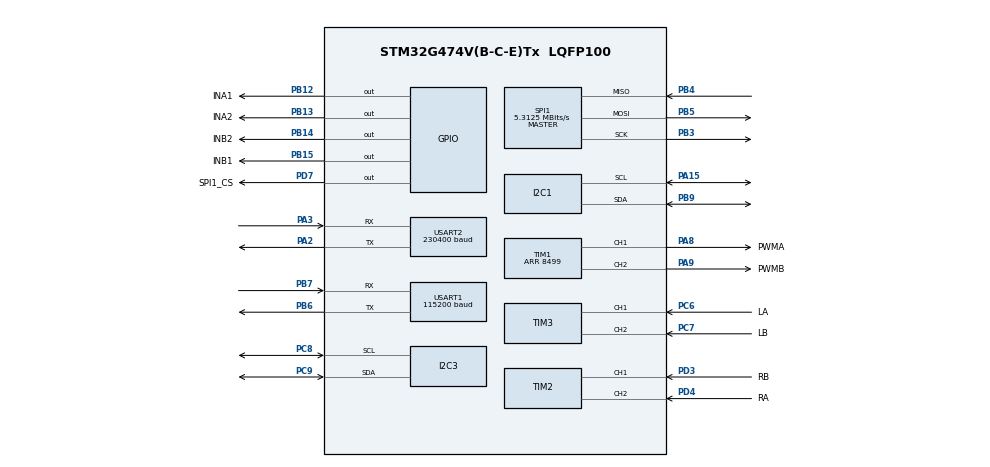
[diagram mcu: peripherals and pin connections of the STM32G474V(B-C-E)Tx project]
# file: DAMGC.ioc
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Dma.Request0=USART2_RX
Dma.Request1=USART2_TX
Dma.USART2_RX.0.Direction=DMA_PERIPH_TO_MEMORY
Dma.USART2_RX.0.EventEnable=DISABLE
Dma.USART2_RX.0.Instance=DMA1_Channel1
Dma.USART2_RX.0.MemDataAlignment=DMA_MDATAALIGN_BYTE
Dma.USART2_RX.0.MemInc=DMA_MINC_ENABLE
Dma.USART2_RX.0.Mode=DMA_CIRCULAR
Dma.USART2_RX.0.PeriphDataAlignment=DMA_PDATAALIGN_BYTE
Dma.USART2_RX.0.PeriphInc=DMA_PINC_DISABLE
Dma.USART2_RX.0.Polarity=HAL_DMAMUX_REQ_GEN_RISING
Dma.USART2_RX.0.Priority=DMA_PRIORITY_HIGH
Dma.USART2_RX.0.RequestNumber=1
Dma.USART2_RX.0.SignalID=NONE
Dma.USART2_RX.0.SyncEnable=DISABLE
Dma.USART2_RX.0.SyncPolarity=HAL_DMAMUX_SYNC_NO_EVENT
Dma.USART2_RX.0.SyncRequestNumber=1
Dma.USART2_RX.0.SyncSignalID=NONE
Dma.USART2_TX.1.Direction=DMA_MEMORY_TO_PERIPH
Dma.USART2_TX.1.EventEnable=DISABLE
Dma.USART2_TX.1.Instance=DMA1_Channel2
Dma.USART2_TX.1.MemDataAlignment=DMA_MDATAALIGN_BYTE
Dma.USART2_TX.1.MemInc=DMA_MINC_ENABLE
Dma.USART2_TX.1.Mode=DMA_NORMAL
Dma.USART2_TX.1.PeriphDataAlignment=DMA_PDATAALIGN_BYTE
Dma.USART2_TX.1.PeriphInc=DMA_PINC_DISABLE
Dma.USART2_TX.1.Polarity=HAL_DMAMUX_REQ_GEN_RISING
Dma.USART2_TX.1.Priority=DMA_PRIORITY_HIGH
Dma.USART2_TX.1.RequestNumber=1
Dma.USART2_TX.1.SignalID=NONE
Dma.USART2_TX.1.SyncEnable=DISABLE
Dma.USART2_TX.1.SyncPolarity=HAL_DMAMUX_SYNC_NO_EVENT
Dma.USART2_TX.1.SyncRequestNumber=1
Dma.USART2_TX.1.SyncSignalID=NONE
I2C1.OwnAddress1=132
I2C1.Timing=0x40B285C2
I2C3.Timing=0x40B285C2
Mcu.Family=STM32G4
Mcu.Name=STM32G474V(B-C-E)Tx
Mcu.Package=LQFP100
NVIC.DMA1_Channel1_IRQn=true\:6\:0\:false\:false\:true\:false\:true\:true
NVIC.DMA1_Channel2_IRQn=true\:6\:0\:false\:false\:true\:false\:true\:true
NVIC.I2C1_ER_IRQn=true\:6\:0\:false\:false\:true\:true\:true\:true
NVIC.I2C1_EV_IRQn=true\:6\:0\:false\:false\:true\:true\:true\:true
NVIC.PriorityGroup=NVIC_PRIORITYGROUP_4
NVIC.USART2_IRQn=true\:5\:0\:true\:false\:true\:true\:true\:true
PA13.Mode=Serial_Wire
PA13.Signal=SYS_JTMS-SWDIO
PA14.Mode=Serial_Wire
PA14.Signal=SYS_JTCK-SWCLK
PA15.Mode=I2C
PA15.Signal=I2C1_SCL
PA2.Mode=Asynchronous
PA2.Signal=USART2_TX
PA3.Mode=Asynchronous
PA3.Signal=USART2_RX
PA8.GPIO_Label=PWMA
PA8.Signal=S_TIM1_CH1
PA9.GPIO_Label=PWMB
PA9.Signal=S_TIM1_CH2
PB12.GPIO_Label=INA1
PB12.Signal=GPIO_Output
PB13.GPIO_Label=INA2
PB13.Signal=GPIO_Output
PB14.GPIO_Label=INB2
PB14.Signal=GPIO_Output
PB15.GPIO_Label=INB1
PB15.Signal=GPIO_Output
PB3.Mode=Full_Duplex_Master
PB3.Signal=SPI1_SCK
PB4.Mode=Full_Duplex_Master
PB4.Signal=SPI1_MISO
PB5.Mode=Full_Duplex_Master
PB5.Signal=SPI1_MOSI
PB6.Mode=Asynchronous
PB6.Signal=USART1_TX
PB7.Mode=Asynchronous
PB7.Signal=USART1_RX
PB9.Mode=I2C
PB9.Signal=I2C1_SDA
PC6.GPIO_Label=LA
PC6.Signal=S_TIM3_CH1
PC7.GPIO_Label=LB
PC7.Signal=S_TIM3_CH2
PC8.Mode=I2C
PC8.Signal=I2C3_SCL
PC9.Mode=I2C
PC9.Signal=I2C3_SDA
PD3.GPIO_Label=RB
PD3.Signal=S_TIM2_CH1
PD4.GPIO_Label=RA
PD4.Signal=S_TIM2_CH2
PD7.GPIO_Label=SPI1_CS
PD7.Signal=GPIO_Output
PF0-OSC_IN.Mode=HSE-External-Clock-Source
PF0-OSC_IN.Signal=RCC_OSC_IN
ProjectManager.HeapSize=0x200
ProjectManager.StackSize=0x400
ProjectManager.TargetToolchain=CMake
RCC.ADC12Freq_Value=170000000
RCC.ADC345Freq_Value=170000000
RCC.AHBFreq_Value=170000000
RCC.APB1Freq_Value=170000000
RCC.APB1TimFreq_Value=170000000
RCC.APB2Freq_Value=170000000
RCC.APB2TimFreq_Value=170000000
RCC.CortexFreq_Value=170000000
RCC.EXTERNAL_CLOCK_VALUE=12288000
RCC.HCLKFreq_Value=170000000
RCC.HSE_VALUE=20000000
RCC.HSI48_VALUE=48000000
RCC.HSI_VALUE=16000000
RCC.LSE_VALUE=32768
RCC.PLLM=RCC_PLLM_DIV2
RCC.PLLN=34
RCC.PLLSourceVirtual=RCC_PLLSOURCE_HSE
RCC.SYSCLKFreq_VALUE=170000000
RCC.SYSCLKSource=RCC_SYSCLKSOURCE_PLLCLK
RCC.USBFreq_Value=170000000
RCC.VCOOutputFreq_Value=340000000
SH.S_TIM1_CH1.0=TIM1_CH1,PWM Generation1 CH1
SH.S_TIM1_CH2.0=TIM1_CH2,PWM Generation2 CH2
SH.S_TIM2_CH1.0=TIM2_CH1,Encoder_Interface
SH.S_TIM2_CH2.0=TIM2_CH2,Encoder_Interface
SH.S_TIM3_CH1.0=TIM3_CH1,Encoder_Interface
SH.S_TIM3_CH2.0=TIM3_CH2,Encoder_Interface
SPI1.BaudRatePrescaler=SPI_BAUDRATEPRESCALER_32
SPI1.CalculateBaudRate=5.3125 MBits/s
SPI1.DataSize=SPI_DATASIZE_8BIT
SPI1.Direction=SPI_DIRECTION_2LINES
SPI1.Mode=SPI_MODE_MASTER
SPI1.VirtualType=VM_MASTER
TIM1.Channel-PWM\ Generation1\ CH1=TIM_CHANNEL_1
TIM1.Channel-PWM\ Generation2\ CH2=TIM_CHANNEL_2
TIM1.Period=8499
TIM2.EncoderMode=TIM_ENCODERMODE_TI12
TIM2.IC1Filter=4
TIM2.IC2Filter=4
TIM3.EncoderMode=TIM_ENCODERMODE_TI12
TIM3.IC1Filter=4
TIM3.IC2Filter=4
USART1.BaudRate=115200
USART1.VirtualMode-Asynchronous=VM_ASYNC
USART2.BaudRate=230400
USART2.VirtualMode-Asynchronous=VM_ASYNC
VP_SYS_VS_DBSignals.Mode=DisableDeadBatterySignals
VP_TIM4_VS_ClockSourceINT.Mode=Internal
board=custom

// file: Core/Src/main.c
/* USER CODE BEGIN Header */
/**
  ******************************************************************************
  * @file           : main.c
  * @brief          : Main program body
  ******************************************************************************
  * @attention
  *
  * Copyright (c) 2026 STMicroelectronics.
  * All rights reserved.
  *
  * This software is licensed under terms that can be found in the LICENSE file
  * in the root directory of this software component.
  * If no LICENSE file comes with this software, it is provided AS-IS.
  *
  ******************************************************************************
  */
/* USER CODE END Header */
#include "main.h"

/* USER CODE BEGIN Includes */

#include <string.h>
#include <stdio.h>
#include "drive.h"
#include "speed_pid.h"
#include "uart_protocol.h"
#include "i2c_protocol.h"
#include "calibration_store.h"

/* USER CODE END Includes */

/* USER CODE BEGIN PTD */

typedef struct
{
  uint32_t magic;
  uint32_t state;
  uint32_t address_7bit;
  uint32_t chip_id;
  uint32_t calib_stat;
  uint32_t sys_status;
  uint32_t sys_error;
  int32_t heading_x16;
  int32_t roll_x16;
  int32_t pitch_x16;
  uint32_t sample_count;
  uint32_t i2c_error_count;
  uint32_t last_hal_status;
  uint32_t uart_tx_count;
  uint32_t uart_tx_error_count;
  uint32_t uart_last_sequence;
} BNO055_TestData;

typedef enum
{
  SERIAL_TEST_IDLE = 0,
  SERIAL_TEST_ENCODER,
  SERIAL_TEST_IMU
} SerialTestMode;

/* USER CODE END PTD */

/* USER CODE BEGIN PD */

#define BNO055_ADDRESS_LOW        0x28U
#define BNO055_ADDRESS_HIGH       0x29U

#define BNO055_REG_CHIP_ID        0x00U
#define BNO055_REG_GYR_DATA_X     0x14U
#define BNO055_REG_EUL_HEADING    0x1AU
#define BNO055_REG_CALIB_STAT     0x35U
#define BNO055_REG_SYS_STATUS     0x39U
#define BNO055_REG_SYS_ERR        0x3AU
#define BNO055_REG_PAGE_ID        0x07U
#define BNO055_REG_OPR_MODE       0x3DU
#define BNO055_REG_PWR_MODE       0x3EU
#define BNO055_REG_SYS_TRIGGER    0x3FU
#define BNO055_REG_ACC_OFFSET_X   0x55U

#define BNO055_CHIP_ID_VALUE      0xA0U
#define BNO055_MODE_CONFIG        0x00U
#define BNO055_MODE_NDOF          0x0CU
#define BNO055_POWER_NORMAL       0x00U

#define BNO055_STATE_STARTING     0U
#define BNO055_STATE_NOT_FOUND    1U
#define BNO055_STATE_BAD_CHIP_ID  2U
#define BNO055_STATE_INIT_ERROR   3U
#define BNO055_STATE_RUNNING      4U

#define UART_IMU_PERIOD_MS        9U
#define UART_WHEEL_PERIOD_MS      20U
#define UART_SYSTEM_PERIOD_MS     100U
#define UART_DEFAULT_WATCHDOG_MS  200U

#define SERIAL_REPORT_PERIOD_MS   200U
#define PID_PLOT_PERIOD_MS        20U
#define MOTOR_TEST_DURATION_MS    2000U

/* USER CODE END PD */

I2C_HandleTypeDef hi2c1;
I2C_HandleTypeDef hi2c3;

TIM_HandleTypeDef htim1;
TIM_HandleTypeDef htim2;
TIM_HandleTypeDef htim3;

UART_HandleTypeDef huart1;
UART_HandleTypeDef huart2;
DMA_HandleTypeDef hdma_usart2_rx;
DMA_HandleTypeDef hdma_usart2_tx;

/* USER CODE BEGIN PV */

volatile BNO055_TestData bno055_test =
{
  .magic = 0xB0550550U,
  .state = BNO055_STATE_STARTING
};

static uint16_t bno055_device_address;
static float bno055_accel_mps2[3];
static float bno055_gyro_rps[3];
static float bno055_quaternion[4];
static int16_t bno055_temperature_cdeg;
static SerialTestMode serial_test_mode;
static uint8_t motor_test_duty_percent = 25U;
static uint8_t motor_test_active;
static uint32_t motor_test_stop_ms;
static uint32_t serial_last_report_ms;
static int32_t encoder_left_previous;
static int32_t encoder_right_previous;
static uint32_t encoder_last_sample_ms;
static uint32_t imu_last_send_ms;
static uint32_t wheel_last_send_ms;
static uint32_t system_last_send_ms;
static uint32_t bno055_next_retry_ms;
static uint32_t pid_last_report_ms;
static uint16_t remote_watchdog_ms = UART_DEFAULT_WATCHDOG_MS;
static uint8_t remote_control_active;
static uint8_t remote_estop_latched;
static uint8_t bno055_profile_loaded;
static uint8_t bno055_profile_mismatch_index = 0xFFU;

/* USER CODE END PV */

void SystemClock_Config(void);
static void MX_GPIO_Init(void);
static void MX_DMA_Init(void);
static void MX_TIM4_Init(void);
static void MX_USART1_UART_Init(void);
static void MX_USART2_UART_Init(void);
static void MX_I2C3_Init(void);
static void MX_TIM1_Init(void);
static void MX_TIM2_Init(void);
static void MX_TIM3_Init(void);
static void MX_SPI1_Init(void);
static void MX_I2C1_Init(void);
/* USER CODE BEGIN PFP */

static HAL_StatusTypeDef BNO055_Read(uint8_t reg, uint8_t *data, uint16_t length);
static HAL_StatusTypeDef BNO055_Write(uint8_t reg, uint8_t value);
static HAL_StatusTypeDef BNO055_WriteBuffer(uint8_t reg,
                                            const uint8_t *data,
                                            uint16_t length);
static HAL_StatusTypeDef BNO055_ApplyCalibrationProfile(
    const BNO055CalibrationProfile *profile);
static HAL_StatusTypeDef BNO055_Init(void);
static HAL_StatusTypeDef BNO055_Update(void);
static void BNO055_PrintCalibrationStore(void);
static void BNO055_SaveCalibration(void);
static void BNO055_LoadCalibration(void);
static void BNO055_EraseCalibration(void);
static HAL_StatusTypeDef UART_SendIMU(void);
static void JetsonProtocol_Process(void);
static void UART_SendWheelState(void);
static void UART_SendSystemState(void);
static void SerialConsole_Write(const char *text);
static void SerialConsole_PrintHelp(void);
static void SerialConsole_PrintStatus(void);
static void SerialConsole_PrintPID(void);
static void SerialConsole_PrintLink(void);
static void SerialConsole_Process(void);
static void SerialTest_Process(void);
static void SerialTest_Encoder(void);
static void SerialTest_IMU(void);
static void SerialTest_MotorPWM(void);

/* USER CODE END PFP */

/* USER CODE BEGIN 0 */

static HAL_StatusTypeDef BNO055_Read(uint8_t reg, uint8_t *data, uint16_t length)
{
  HAL_StatusTypeDef status = HAL_I2C_Mem_Read(&hi2c3, bno055_device_address,
                                               reg, I2C_MEMADD_SIZE_8BIT,
                                               data, length, 100U);
  bno055_test.last_hal_status = (uint32_t)status;
  if (status != HAL_OK)
  {
    bno055_test.i2c_error_count++;
  }
  return status;
}

static HAL_StatusTypeDef BNO055_Write(uint8_t reg, uint8_t value)
{
  HAL_StatusTypeDef status = HAL_I2C_Mem_Write(&hi2c3, bno055_device_address,
                                                reg, I2C_MEMADD_SIZE_8BIT,
                                                &value, 1U, 100U);
  bno055_test.last_hal_status = (uint32_t)status;
  if (status != HAL_OK)
  {
    bno055_test.i2c_error_count++;
  }
  return status;
}

static HAL_StatusTypeDef BNO055_WriteBuffer(uint8_t reg,
                                            const uint8_t *data,
                                            uint16_t length)
{
  HAL_StatusTypeDef status = HAL_I2C_Mem_Write(
      &hi2c3, bno055_device_address, reg, I2C_MEMADD_SIZE_8BIT,
      (uint8_t *)data, length, 100U);

  bno055_test.last_hal_status = (uint32_t)status;
  if (status != HAL_OK)
  {
    bno055_test.i2c_error_count++;
  }
  return status;
}

static HAL_StatusTypeDef BNO055_ApplyCalibrationProfile(
    const BNO055CalibrationProfile *profile)
{
  uint8_t verify[BNO055_CALIBRATION_PROFILE_SIZE];

  bno055_profile_mismatch_index = 0xFFU;
  for (uint32_t attempt = 0U; attempt < 3U; attempt++)
  {
    if (BNO055_WriteBuffer(BNO055_REG_ACC_OFFSET_X, profile->data,
                           BNO055_CALIBRATION_PROFILE_SIZE) != HAL_OK)
    {
      continue;
    }
    HAL_Delay(10U);
    if (BNO055_Read(BNO055_REG_ACC_OFFSET_X, verify,
                    BNO055_CALIBRATION_PROFILE_SIZE) != HAL_OK)
    {
      continue;
    }
    bno055_profile_mismatch_index = 0xFFU;
    for (uint8_t index = 0U; index < BNO055_CALIBRATION_PROFILE_SIZE; index++)
    {
      if (verify[index] != profile->data[index])
      {
        bno055_profile_mismatch_index = index;
        break;
      }
    }
    if (bno055_profile_mismatch_index == 0xFFU)
    {
      return HAL_OK;
    }
    HAL_Delay(10U);
  }
  return HAL_ERROR;
}

static HAL_StatusTypeDef BNO055_Init(void)
{
  HAL_StatusTypeDef status;
  BNO055CalibrationProfile profile;
  uint8_t chip_id = 0U;
  uint8_t address;

  bno055_test.state = BNO055_STATE_STARTING;
  bno055_test.address_7bit = 0U;
  bno055_test.chip_id = 0U;
  HAL_Delay(700U);

  address = BNO055_ADDRESS_LOW;
  bno055_device_address = (uint16_t)(address << 1U);
  status = HAL_I2C_IsDeviceReady(&hi2c3, bno055_device_address, 3U, 100U);
  if (status != HAL_OK)
  {
    address = BNO055_ADDRESS_HIGH;
    bno055_device_address = (uint16_t)(address << 1U);
    status = HAL_I2C_IsDeviceReady(&hi2c3, bno055_device_address, 3U, 100U);
  }

  bno055_test.last_hal_status = (uint32_t)status;
  if (status != HAL_OK)
  {
    bno055_test.state = BNO055_STATE_NOT_FOUND;
    bno055_test.i2c_error_count++;
    return status;
  }
  bno055_test.address_7bit = address;

  for (uint32_t retry = 0U; retry < 10U; retry++)
  {
    status = BNO055_Read(BNO055_REG_CHIP_ID, &chip_id, 1U);
    if ((status == HAL_OK) && (chip_id == BNO055_CHIP_ID_VALUE))
    {
      break;
    }
    HAL_Delay(100U);
  }
  bno055_test.chip_id = chip_id;
  if (chip_id != BNO055_CHIP_ID_VALUE)
  {
    bno055_test.state = BNO055_STATE_BAD_CHIP_ID;
    return HAL_ERROR;
  }

  if ((BNO055_Write(BNO055_REG_OPR_MODE, BNO055_MODE_CONFIG) != HAL_OK))
  {
    bno055_test.state = BNO055_STATE_INIT_ERROR;
    return HAL_ERROR;
  }
  HAL_Delay(25U);

  if ((BNO055_Write(BNO055_REG_PAGE_ID, 0x00U) != HAL_OK) ||
      (BNO055_Write(BNO055_REG_PWR_MODE, BNO055_POWER_NORMAL) != HAL_OK) ||
      (BNO055_Write(BNO055_REG_SYS_TRIGGER, 0x00U) != HAL_OK))
  {
    bno055_test.state = BNO055_STATE_INIT_ERROR;
    return HAL_ERROR;
  }
  HAL_Delay(10U);

  bno055_profile_loaded = 0U;
  if ((CalibrationStore_Load(&profile) != 0U) &&
      (BNO055_ApplyCalibrationProfile(&profile) == HAL_OK))
  {
    bno055_profile_loaded = 1U;
  }

  if (BNO055_Write(BNO055_REG_OPR_MODE, BNO055_MODE_NDOF) != HAL_OK)
  {
    bno055_test.state = BNO055_STATE_INIT_ERROR;
    return HAL_ERROR;
  }
  HAL_Delay(30U);
  bno055_test.state = BNO055_STATE_RUNNING;
  return HAL_OK;
}

static HAL_StatusTypeDef BNO055_Update(void)
{
  uint8_t sensor_data[33];
  uint8_t value;
  int16_t raw_value;

  if (BNO055_Read(BNO055_REG_GYR_DATA_X, sensor_data, sizeof(sensor_data)) != HAL_OK)
  {
    return HAL_ERROR;
  }

  for (uint32_t axis = 0U; axis < 3U; axis++)
  {
    raw_value = (int16_t)(((uint16_t)sensor_data[(axis * 2U) + 1U] << 8U) |
                          sensor_data[axis * 2U]);
    bno055_gyro_rps[axis] = (float)raw_value * 0.0010908308f;

    raw_value = (int16_t)(((uint16_t)sensor_data[21U + (axis * 2U)] << 8U) |
                          sensor_data[20U + (axis * 2U)]);
    bno055_accel_mps2[axis] = (float)raw_value * 0.01f;
  }

  bno055_test.heading_x16 = (int16_t)(((uint16_t)sensor_data[7] << 8U) | sensor_data[6]);
  bno055_test.roll_x16 = (int16_t)(((uint16_t)sensor_data[9] << 8U) | sensor_data[8]);
  bno055_test.pitch_x16 = (int16_t)(((uint16_t)sensor_data[11] << 8U) | sensor_data[10]);

  raw_value = (int16_t)(((uint16_t)sensor_data[15] << 8U) | sensor_data[14]);
  bno055_quaternion[0] = (float)raw_value / 16384.0f;
  raw_value = (int16_t)(((uint16_t)sensor_data[17] << 8U) | sensor_data[16]);
  bno055_quaternion[1] = (float)raw_value / 16384.0f;
  raw_value = (int16_t)(((uint16_t)sensor_data[19] << 8U) | sensor_data[18]);
  bno055_quaternion[2] = (float)raw_value / 16384.0f;
  raw_value = (int16_t)(((uint16_t)sensor_data[13] << 8U) | sensor_data[12]);
  bno055_quaternion[3] = (float)raw_value / 16384.0f;

  bno055_temperature_cdeg = (int16_t)((int8_t)sensor_data[32]) * 100;

  if ((bno055_test.sample_count % 10U) == 0U)
  {
    if (BNO055_Read(BNO055_REG_CALIB_STAT, &value, 1U) == HAL_OK)
    {
      bno055_test.calib_stat = value;
    }
    if (BNO055_Read(BNO055_REG_SYS_STATUS, &value, 1U) == HAL_OK)
    {
      bno055_test.sys_status = value;
    }
    if (bno055_test.sys_status == 0x01U)
    {
      if (BNO055_Read(BNO055_REG_SYS_ERR, &value, 1U) == HAL_OK)
      {
        bno055_test.sys_error = value;
      }
    }
    else
    {
      bno055_test.sys_error = 0U;
    }
  }

  bno055_test.sample_count++;
  return HAL_OK;
}

static uint8_t BNO055_CalibrationAccessAllowed(void)
{
  if ((SpeedPID_GetStatus()->active != 0U) || (motor_test_active != 0U))
  {
    SerialConsole_Write("Calibration denied: stop motors first\r\n> ");
    return 0U;
  }
  if (bno055_test.state != BNO055_STATE_RUNNING)
  {
    SerialConsole_Write("Calibration denied: BNO055 is not running\r\n> ");
    return 0U;
  }
  return 1U;
}

static void BNO055_PrintCalibrationStore(void)
{
  char line[224];
  BNO055CalibrationProfile profile;
  uint8_t stored_calib;

  memset(&profile, 0, sizeof(profile));
  uint8_t valid = CalibrationStore_Load(&profile);
  stored_calib = (valid != 0U) ? profile.calibration_status : 0U;

  (void)snprintf(line, sizeof(line),
                 "CAL store[type=internal addr=0x%08lX valid=%u loaded=%u mismatch=%u] "
                 "saved[S%u G%u A%u M%u] "
                 "live[S%lu G%lu A%lu M%lu fusion=%lu err=%lu]\r\n> ",
                 (unsigned long)CalibrationStore_GetAddress(),
                 valid,
                 bno055_profile_loaded,
                 bno055_profile_mismatch_index,
                 (stored_calib >> 6U) & 0x03U,
                 (stored_calib >> 4U) & 0x03U,
                 (stored_calib >> 2U) & 0x03U,
                 stored_calib & 0x03U,
                 (unsigned long)((bno055_test.calib_stat >> 6U) & 0x03U),
                 (unsigned long)((bno055_test.calib_stat >> 4U) & 0x03U),
                 (unsigned long)((bno055_test.calib_stat >> 2U) & 0x03U),
                 (unsigned long)(bno055_test.calib_stat & 0x03U),
                 (unsigned long)bno055_test.sys_status,
                 (unsigned long)bno055_test.sys_error);
  SerialConsole_Write(line);
}

static void BNO055_SaveCalibration(void)
{
  BNO055CalibrationProfile profile;
  HAL_StatusTypeDef read_status;

  if (BNO055_CalibrationAccessAllowed() == 0U)
  {
    return;
  }
  if (CalibrationStore_IsPresent() == 0U)
  {
    SerialConsole_Write("CAL save failed: internal Flash unavailable\r\n> ");
    return;
  }
  if ((bno055_test.sys_status != 5U) ||
      ((bno055_test.calib_stat & 0x3FU) != 0x3FU))
  {
    SerialConsole_Write("CAL save denied: require fusion=5 and G3 A3 M3\r\n> ");
    return;
  }

  profile.calibration_status = (uint8_t)bno055_test.calib_stat;
  if (BNO055_Write(BNO055_REG_OPR_MODE, BNO055_MODE_CONFIG) != HAL_OK)
  {
    SerialConsole_Write("CAL save failed: cannot enter CONFIG mode\r\n> ");
    return;
  }
  HAL_Delay(25U);
  read_status = BNO055_Read(BNO055_REG_ACC_OFFSET_X, profile.data,
                           BNO055_CALIBRATION_PROFILE_SIZE);
  (void)BNO055_Write(BNO055_REG_OPR_MODE, BNO055_MODE_NDOF);
  HAL_Delay(30U);

  if (read_status != HAL_OK)
  {
    SerialConsole_Write("CAL save failed: BNO055 profile read error\r\n> ");
    return;
  }
  if (CalibrationStore_Save(&profile) == 0U)
  {
    SerialConsole_Write("CAL save failed: internal Flash write/verify error\r\n> ");
    return;
  }
  bno055_profile_loaded = 1U;
  SerialConsole_Write("CAL saved and verified; next boot will auto-load it\r\n> ");
}

static void BNO055_LoadCalibration(void)
{
  BNO055CalibrationProfile profile;
  HAL_StatusTypeDef write_status;

  if (BNO055_CalibrationAccessAllowed() == 0U)
  {
    return;
  }
  if (CalibrationStore_Load(&profile) == 0U)
  {
    SerialConsole_Write("CAL load failed: no valid saved profile\r\n> ");
    return;
  }
  if (BNO055_Write(BNO055_REG_OPR_MODE, BNO055_MODE_CONFIG) != HAL_OK)
  {
    SerialConsole_Write("CAL load failed: cannot enter CONFIG mode\r\n> ");
    return;
  }
  HAL_Delay(25U);
  write_status = BNO055_ApplyCalibrationProfile(&profile);
  (void)BNO055_Write(BNO055_REG_OPR_MODE, BNO055_MODE_NDOF);
  HAL_Delay(30U);

  if (write_status == HAL_OK)
  {
    bno055_profile_loaded = 1U;
    SerialConsole_Write("CAL profile loaded into BNO055\r\n> ");
  }
  else
  {
    bno055_profile_loaded = 0U;
    SerialConsole_Write("CAL load failed: BNO055 profile read-back mismatch\r\n> ");
  }
}

static void BNO055_EraseCalibration(void)
{
  if ((SpeedPID_GetStatus()->active != 0U) || (motor_test_active != 0U))
  {
    SerialConsole_Write("CAL erase denied: stop motors first\r\n> ");
    return;
  }
  if (CalibrationStore_Erase() != 0U)
  {
    bno055_profile_loaded = 0U;
    SerialConsole_Write("CAL saved profile erased; current BNO offsets unchanged\r\n> ");
  }
  else
  {
    SerialConsole_Write("CAL erase failed\r\n> ");
  }
}

static HAL_StatusTypeDef UART_SendIMU(void)
{
  uint16_t imu_status;
  HAL_StatusTypeDef status;

  imu_status = (uint16_t)(bno055_test.calib_stat &
                          UART_IMU_STATUS_CALIB_MASK) |
               (uint16_t)((bno055_test.sys_status & 0x0FU) <<
                          UART_IMU_STATUS_SYS_SHIFT) |
               (uint16_t)((bno055_test.sys_error & 0x0FU) <<
                          UART_IMU_STATUS_ERROR_SHIFT);
  status = UARTProtocol_SendIMU(bno055_accel_mps2, bno055_gyro_rps,
                                bno055_quaternion, bno055_temperature_cdeg,
                                imu_status);
  bno055_test.uart_last_sequence = UARTProtocol_GetStats()->tx_frames;
  if (status == HAL_OK)
  {
    bno055_test.uart_tx_count++;
  }
  else
  {
    bno055_test.uart_tx_error_count++;
  }
  return status;
}

static void JetsonProtocol_Process(void)
{
  UARTVelocityCommand command;

  UARTProtocol_Process();
  if (UARTProtocol_TakeVelocityCommand(&command) != 0U)
  {
    remote_watchdog_ms = (command.watchdog_ms != 0U) ?
                         command.watchdog_ms : UART_DEFAULT_WATCHDOG_MS;
    motor_test_active = 0U;

    if ((command.control_flags & UART_CONTROL_CLEAR_FAULT) != 0U)
    {
      remote_estop_latched = 0U;
    }

    if ((command.control_flags & UART_CONTROL_ESTOP) != 0U)
    {
      remote_estop_latched = 1U;
      SpeedPID_Stop();
      remote_control_active = 0U;
    }
    else if (remote_estop_latched != 0U)
    {
      SpeedPID_Stop();
      remote_control_active = 0U;
    }
    else if ((command.control_flags & UART_CONTROL_CONTROLLED_STOP) != 0U)
    {
      SpeedPID_SetTargets(0.0f, 0.0f);
      if (SpeedPID_GetStatus()->active == 0U)
      {
        SpeedPID_Start();
      }
      remote_control_active = 1U;
    }
    else if (((command.control_flags & UART_CONTROL_MOTOR_ENABLE) != 0U) &&
             (remote_estop_latched == 0U))
    {
      SpeedPID_SetTargets((float)command.left_mm_s,
                          (float)command.right_mm_s);
      if (SpeedPID_GetStatus()->active == 0U)
      {
        SpeedPID_Start();
      }
      remote_control_active = 1U;
    }
    else
    {
      SpeedPID_Stop();
      remote_control_active = 0U;
    }
  }

  if ((remote_control_active != 0U) &&
      (UARTProtocol_GetLastCommandAgeMs() > remote_watchdog_ms))
  {
    SpeedPID_Stop();
    remote_control_active = 0U;
  }
}

static void UART_SendWheelState(void)
{
  const EncoderState *encoder = Encoder_GetState();
  uint16_t encoder_status = 0U;

  if (encoder->sample_period_ms != 0U)
  {
    encoder_status |= UART_WHEEL_STATUS_SAMPLE_VALID;
  }
  if (SpeedPID_GetStatus()->active != 0U)
  {
    encoder_status |= UART_WHEEL_STATUS_PID_ACTIVE;
  }
  if (remote_control_active != 0U)
  {
    encoder_status |= UART_WHEEL_STATUS_REMOTE_ACTIVE;
  }

  (void)UARTProtocol_SendWheel(
      encoder->left_total_ticks, encoder->right_total_ticks,
      (int32_t)encoder->left_speed_mm_s,
      (int32_t)encoder->right_speed_mm_s, encoder_status);
}

static void UART_SendSystemState(void)
{
  const UARTProtocolStats *uart_stats = UARTProtocol_GetStats();
  uint32_t fault_bits = 0U;
  uint32_t command_age_ms = UARTProtocol_GetLastCommandAgeMs();
  uint8_t mode;

  if (bno055_test.state != BNO055_STATE_RUNNING)
  {
    fault_bits |= 0x00000001U;
  }
  if ((uart_stats->uart_errors != 0U) || (uart_stats->rx_overruns != 0U))
  {
    fault_bits |= 0x00000002U;
  }
  mode = (remote_estop_latched != 0U) ? 4U :
         ((remote_control_active != 0U) ? 3U :
          ((SpeedPID_GetStatus()->active != 0U) ? 2U : 1U));
  if (command_age_ms > 65535U)
  {
    command_age_ms = 65535U;
  }
  (void)UARTProtocol_SendSystem(0U, 0, 0, mode, remote_estop_latched,
                                fault_bits,
                                (uint16_t)command_age_ms);
}

static void SerialConsole_Write(const char *text)
{
  (void)HAL_UART_Transmit(&huart1, (const uint8_t *)text,
                          (uint16_t)strlen(text), 100U);
}

static void SerialConsole_PrintHelp(void)
{
  SerialConsole_Write(
      "\r\n=== DAMGC UART1 test console (115200 8N1) ===\r\n"
      "h/? : help\r\n"
      "s   : print one-shot status\r\n"
      "e   : toggle live encoder test\r\n"
      "i   : toggle live IMU test\r\n"
      "u   : print BNO calibration store status\r\n"
      "U   : save current G3/A3/M3 profile to internal Flash\r\n"
      "L   : load saved BNO calibration profile now\r\n"
      "X   : erase saved BNO calibration profile\r\n"
      "z   : zero both encoder counters\r\n"
      "+/- : change motor test PWM by 5%\r\n"
      "m   : run both motors forward for 2 seconds\r\n"
      "c   : toggle continuous closed-loop speed PID\r\n"
      "[/] : target speed -/+ 25 mm/s\r\n"
      "p/P : Kp -/+ 0.01\r\n"
      "k/K : Ki -/+ 0.05\r\n"
      "d/D : Kd -/+ 0.001\r\n"
      "a/A : acceleration -/+ 500 mm/s^2\r\n"
      "b/B : deceleration -/+ 1000 mm/s^2\r\n"
      "g   : print PID gains and live values\r\n"
      "j   : print Jetson UART2 link diagnostics\r\n"
      "0/q : emergency stop and leave live test\r\n"
      "=========================================\r\n> ");
}

static void SerialTest_Encoder(void)
{
  char line[224];
  uint32_t now_ms = HAL_GetTick();
  uint32_t elapsed_ms = now_ms - encoder_last_sample_ms;
  int32_t left = Encoder_GetLeftCount();
  int32_t right = Encoder_GetRightCount();
  int32_t left_delta = left - encoder_left_previous;
  int32_t right_delta = right - encoder_right_previous;
  int32_t left_distance_mm;
  int32_t right_distance_mm;
  int32_t left_speed_mm_s = 0;
  int32_t right_speed_mm_s = 0;

  left_distance_mm = (int32_t)(((int64_t)left * WHEEL_CIRCUMFERENCE_UM) /
                               ((int64_t)ENCODER_COUNTS_PER_REV * 1000));
  right_distance_mm = (int32_t)(((int64_t)right * WHEEL_CIRCUMFERENCE_UM) /
                                ((int64_t)ENCODER_COUNTS_PER_REV * 1000));
  if (elapsed_ms != 0U)
  {
    left_speed_mm_s = (int32_t)(((int64_t)left_delta * WHEEL_CIRCUMFERENCE_UM) /
                                ((int64_t)ENCODER_COUNTS_PER_REV * elapsed_ms));
    right_speed_mm_s = (int32_t)(((int64_t)right_delta * WHEEL_CIRCUMFERENCE_UM) /
                                 ((int64_t)ENCODER_COUNTS_PER_REV * elapsed_ms));
  }
  encoder_left_previous = left;
  encoder_right_previous = right;
  encoder_last_sample_ms = now_ms;
  (void)snprintf(line, sizeof(line),
                 "ENC L[tick=%ld d=%ld dist=%ldmm speed=%ldmm/s] "
                 "R[tick=%ld d=%ld dist=%ldmm speed=%ldmm/s] dt=%lums\r\n",
                 (long)left, (long)left_delta, (long)left_distance_mm,
                 (long)left_speed_mm_s, (long)right, (long)right_delta,
                 (long)right_distance_mm, (long)right_speed_mm_s,
                 (unsigned long)elapsed_ms);
  SerialConsole_Write(line);
}

static void SerialTest_IMU(void)
{
  char line[224];
  int32_t heading_cdeg = (bno055_test.heading_x16 * 100) / 16;
  int32_t roll_cdeg = (bno055_test.roll_x16 * 100) / 16;
  int32_t pitch_cdeg = (bno055_test.pitch_x16 * 100) / 16;
  uint32_t calib = bno055_test.calib_stat;

  (void)snprintf(line, sizeof(line),
                 "IMU state=%lu id=0x%02lX H=%ld.%02ld R=%ld.%02ld P=%ld.%02ld "
                 "T=%ld.%02ldC cal[S%lu G%lu A%lu M%lu] "
                 "fusion=%lu bnoErr=%lu i2cErr=%lu\r\n",
                 (unsigned long)bno055_test.state,
                 (unsigned long)bno055_test.chip_id,
                 (long)(heading_cdeg / 100), (long)(heading_cdeg < 0 ? -(heading_cdeg % 100) : heading_cdeg % 100),
                 (long)(roll_cdeg / 100), (long)(roll_cdeg < 0 ? -(roll_cdeg % 100) : roll_cdeg % 100),
                 (long)(pitch_cdeg / 100), (long)(pitch_cdeg < 0 ? -(pitch_cdeg % 100) : pitch_cdeg % 100),
                 (long)(bno055_temperature_cdeg / 100),
                 (long)(bno055_temperature_cdeg < 0 ? -(bno055_temperature_cdeg % 100) : bno055_temperature_cdeg % 100),
                 (unsigned long)((calib >> 6U) & 0x03U),
                 (unsigned long)((calib >> 4U) & 0x03U),
                 (unsigned long)((calib >> 2U) & 0x03U),
                 (unsigned long)(calib & 0x03U),
                 (unsigned long)bno055_test.sys_status,
                 (unsigned long)bno055_test.sys_error,
                 (unsigned long)bno055_test.i2c_error_count);
  SerialConsole_Write(line);
}

static void SerialTest_MotorPWM(void)
{
  char line[128];

  remote_control_active = 0U;
  SpeedPID_Stop();
  Drive_SetBothPercent((float)motor_test_duty_percent);
  motor_test_active = 1U;
  motor_test_stop_ms = HAL_GetTick() + MOTOR_TEST_DURATION_MS;
  (void)snprintf(line, sizeof(line),
                 "MOTOR both forward, PWM=%u%%, auto-stop=2s (0=STOP)\r\n",
                 motor_test_duty_percent);
  SerialConsole_Write(line);
}

static void SerialConsole_PrintStatus(void)
{
  char line[192];
  int32_t left = Encoder_GetLeftCount();
  int32_t right = Encoder_GetRightCount();

  (void)snprintf(line, sizeof(line),
                 "STATUS tick=%lu ENC[L=%ld R=%ld] IMU[state=%lu id=0x%02lX samples=%lu i2cErr=%lu] "
                 "MOTOR[pwm=%u%% running=%u]\r\n> ",
                 (unsigned long)HAL_GetTick(), (long)left, (long)right,
                 (unsigned long)bno055_test.state,
                 (unsigned long)bno055_test.chip_id,
                 (unsigned long)bno055_test.sample_count,
                 (unsigned long)bno055_test.i2c_error_count,
                 motor_test_duty_percent, motor_test_active);
  SerialConsole_Write(line);
}

static void SerialConsole_PrintPID(void)
{
  char line[224];
  const SpeedPIDStatus *pid = SpeedPID_GetStatus();

  (void)snprintf(line, sizeof(line),
                 "PID active=%u cmd[L=%ld R=%ld] ramp[L=%ld R=%ld]mm/s acc=%ld dec=%ld Kp=%ld/1000 Ki=%ld/1000 Kd=%ld/1000 "
                 "L[v=%ld pwm=%ld] R[v=%ld pwm=%ld]\r\n> ",
                 pid->active, (long)pid->left_target_mm_s,
                 (long)pid->right_target_mm_s,
                 (long)pid->left_ramped_target_mm_s,
                 (long)pid->right_ramped_target_mm_s,
                 (long)pid->acceleration_mm_s2,
                 (long)pid->deceleration_mm_s2,
                 (long)(pid->kp * 1000.0f + 0.5f),
                 (long)(pid->ki * 1000.0f + 0.5f),
                 (long)(pid->kd * 1000.0f + 0.5f),
                 (long)pid->left_speed_mm_s, (long)pid->left_output_pct,
                 (long)pid->right_speed_mm_s, (long)pid->right_output_pct);
  SerialConsole_Write(line);
}

static void SerialConsole_PrintLink(void)
{
  char line[224];
  const UARTProtocolStats *stats = UARTProtocol_GetStats();
  const I2CProtocolStats *i2c_stats = I2CProtocol_GetStats();

  (void)snprintf(line, sizeof(line),
                 "UART2 rx=%lu crc=%lu malformed=%lu overrun=%lu uartErr=%lu "
                 "tx=%lu txErr=%lu I2C pub=%lu req=%lu read=%lu drop=%lu err=%lu cmdWr=%lu "
                 "cmdAge=%lums watchdog=%ums remote=%u estop=%u\r\n> ",
                 (unsigned long)stats->valid_rx_frames,
                 (unsigned long)stats->crc_errors,
                 (unsigned long)stats->malformed_frames,
                 (unsigned long)stats->rx_overruns,
                 (unsigned long)stats->uart_errors,
                 (unsigned long)stats->tx_frames,
                 (unsigned long)stats->tx_errors,
                 (unsigned long)i2c_stats->published_frames,
                 (unsigned long)i2c_stats->read_requests,
                 (unsigned long)i2c_stats->read_frames,
                 (unsigned long)i2c_stats->dropped_frames,
                 (unsigned long)i2c_stats->bus_errors,
                 (unsigned long)i2c_stats->command_writes,
                 (unsigned long)UARTProtocol_GetLastCommandAgeMs(),
                 remote_watchdog_ms, remote_control_active,
                 remote_estop_latched);
  SerialConsole_Write(line);
}

static void SerialConsole_Process(void)
{
  uint8_t command;
  char line[192];

  if (__HAL_UART_GET_FLAG(&huart1, UART_FLAG_ORE) != RESET)
  {
    __HAL_UART_CLEAR_OREFLAG(&huart1);
  }

  if ((__HAL_UART_GET_FLAG(&huart1, UART_FLAG_RXNE) == RESET) ||
      (HAL_UART_Receive(&huart1, &command, 1U, 1U) != HAL_OK))
  {
    return;
  }

  switch (command)
  {
    case 'h':
    case 'H':
    case '?':
      SerialConsole_PrintHelp();
      break;

    case 's':
    case 'S':
      SerialConsole_PrintStatus();
      break;

    case 'e':
    case 'E':
      serial_test_mode = (serial_test_mode == SERIAL_TEST_ENCODER) ?
                         SERIAL_TEST_IDLE : SERIAL_TEST_ENCODER;
      encoder_left_previous = Encoder_GetLeftCount();
      encoder_right_previous = Encoder_GetRightCount();
      encoder_last_sample_ms = HAL_GetTick();
      SerialConsole_Write(serial_test_mode == SERIAL_TEST_ENCODER ?
                          "ENC live test ON (e/q=exit)\r\n" : "ENC live test OFF\r\n> ");
      break;

    case 'i':
    case 'I':
      serial_test_mode = (serial_test_mode == SERIAL_TEST_IMU) ?
                         SERIAL_TEST_IDLE : SERIAL_TEST_IMU;
      SerialConsole_Write(serial_test_mode == SERIAL_TEST_IMU ?
                          "IMU live test ON (i/q=exit)\r\n" : "IMU live test OFF\r\n> ");
      break;

    case 'u':
      BNO055_PrintCalibrationStore();
      break;

    case 'U':
      BNO055_SaveCalibration();
      break;

    case 'L':
      BNO055_LoadCalibration();
      break;

    case 'X':
      BNO055_EraseCalibration();
      break;

    case 'z':
    case 'Z':
      Encoder_Zero();
      encoder_left_previous = 0;
      encoder_right_previous = 0;
      encoder_last_sample_ms = HAL_GetTick();
      SerialConsole_Write("ENC counters zeroed\r\n> ");
      break;

    case '+':
      motor_test_duty_percent = (motor_test_duty_percent <= 95U) ?
                                (uint8_t)(motor_test_duty_percent + 5U) : 100U;
      (void)snprintf(line, sizeof(line), "Motor test PWM=%u%%\r\n> ", motor_test_duty_percent);
      SerialConsole_Write(line);
      break;

    case '-':
      motor_test_duty_percent = (motor_test_duty_percent >= 10U) ?
                                (uint8_t)(motor_test_duty_percent - 5U) : 5U;
      (void)snprintf(line, sizeof(line), "Motor test PWM=%u%%\r\n> ", motor_test_duty_percent);
      SerialConsole_Write(line);
      break;

    case 'm':
    case 'M':
      SerialTest_MotorPWM();
      break;

    case 'c':
    case 'C':
      motor_test_active = 0U;
      remote_control_active = 0U;
      if (SpeedPID_GetStatus()->active != 0U)
      {
        SpeedPID_Stop();
        SerialConsole_Write("PID stopped\r\n> ");
      }
      else
      {
        SpeedPID_Start();
        pid_last_report_ms = HAL_GetTick();
      }
      break;

    case '[':
      SpeedPID_SetTarget(SpeedPID_GetStatus()->left_target_mm_s - 25.0f);
      SerialConsole_PrintPID();
      break;

    case ']':
      SpeedPID_SetTarget(SpeedPID_GetStatus()->left_target_mm_s + 25.0f);
      SerialConsole_PrintPID();
      break;

    case 'p':
      SpeedPID_SetGains(SpeedPID_GetStatus()->kp - 0.010f,
                        SpeedPID_GetStatus()->ki, SpeedPID_GetStatus()->kd);
      SerialConsole_PrintPID();
      break;

    case 'P':
      SpeedPID_SetGains(SpeedPID_GetStatus()->kp + 0.010f,
                        SpeedPID_GetStatus()->ki, SpeedPID_GetStatus()->kd);
      SerialConsole_PrintPID();
      break;

    case 'k':
      SpeedPID_SetGains(SpeedPID_GetStatus()->kp,
                        SpeedPID_GetStatus()->ki - 0.050f,
                        SpeedPID_GetStatus()->kd);
      SerialConsole_PrintPID();
      break;

    case 'K':
      SpeedPID_SetGains(SpeedPID_GetStatus()->kp,
                        SpeedPID_GetStatus()->ki + 0.050f,
                        SpeedPID_GetStatus()->kd);
      SerialConsole_PrintPID();
      break;

    case 'd':
      SpeedPID_SetGains(SpeedPID_GetStatus()->kp, SpeedPID_GetStatus()->ki,
                        SpeedPID_GetStatus()->kd - 0.001f);
      SerialConsole_PrintPID();
      break;

    case 'D':
      SpeedPID_SetGains(SpeedPID_GetStatus()->kp, SpeedPID_GetStatus()->ki,
                        SpeedPID_GetStatus()->kd + 0.001f);
      SerialConsole_PrintPID();
      break;

    case 'g':
    case 'G':
      SerialConsole_PrintPID();
      break;

    case 'j':
    case 'J':
      SerialConsole_PrintLink();
      break;

    case 'a':
      SpeedPID_SetAcceleration(SpeedPID_GetStatus()->acceleration_mm_s2 - 500.0f,
                               SpeedPID_GetStatus()->deceleration_mm_s2);
      SerialConsole_PrintPID();
      break;

    case 'A':
      SpeedPID_SetAcceleration(SpeedPID_GetStatus()->acceleration_mm_s2 + 500.0f,
                               SpeedPID_GetStatus()->deceleration_mm_s2);
      SerialConsole_PrintPID();
      break;

    case 'b':
      SpeedPID_SetAcceleration(SpeedPID_GetStatus()->acceleration_mm_s2,
                               SpeedPID_GetStatus()->deceleration_mm_s2 - 1000.0f);
      SerialConsole_PrintPID();
      break;

    case 'B':
      SpeedPID_SetAcceleration(SpeedPID_GetStatus()->acceleration_mm_s2,
                               SpeedPID_GetStatus()->deceleration_mm_s2 + 1000.0f);
      SerialConsole_PrintPID();
      break;

    case '0':
    case 'q':
    case 'Q':
      remote_control_active = 0U;
      SpeedPID_Stop();
      Drive_Stop();
      motor_test_active = 0U;
      serial_test_mode = SERIAL_TEST_IDLE;
      SerialConsole_Write("STOP: motor off, live test off\r\n> ");
      break;

    case '\r':
    case '\n':
      break;

    default:
      SerialConsole_Write("Unknown command. Send h for help.\r\n> ");
      break;
  }
}

static void SerialTest_Process(void)
{
  uint32_t now_ms = HAL_GetTick();
  const SpeedPIDStatus *pid;

  (void)Encoder_Update();

  if ((motor_test_active != 0U) &&
      ((int32_t)(now_ms - motor_test_stop_ms) >= 0))
  {
    Drive_Stop();
    motor_test_active = 0U;
    SerialConsole_Write("MOTOR auto-stopped\r\n> ");
  }

  if (SpeedPID_Process() != 0U)
  {
    pid = SpeedPID_GetStatus();
    if ((uint32_t)(now_ms - pid_last_report_ms) >= PID_PLOT_PERIOD_MS)
    {
      char line[160];
      pid_last_report_ms = now_ms;
      (void)snprintf(line, sizeof(line), "%ld,%ld,%ld\r\n",
                     (long)((pid->left_ramped_target_mm_s +
                             pid->right_ramped_target_mm_s) * 0.5f),
                     (long)pid->left_speed_mm_s,
                     (long)pid->right_speed_mm_s);
      SerialConsole_Write(line);
    }
  }

  if ((serial_test_mode != SERIAL_TEST_IDLE) &&
      ((uint32_t)(now_ms - serial_last_report_ms) >= SERIAL_REPORT_PERIOD_MS))
  {
    serial_last_report_ms = now_ms;
    if (serial_test_mode == SERIAL_TEST_ENCODER)
    {
      SerialTest_Encoder();
    }
    else if (serial_test_mode == SERIAL_TEST_IMU)
    {
      SerialTest_IMU();
    }
  }
}

/* USER CODE END 0 */

int main(void)
{

  /* MCU Configuration--------------------------------------------------------*/

  /* Reset of all peripherals, Initializes the Flash interface and the Systick. */
  HAL_Init();

  /* Configure the system clock */
  SystemClock_Config();

  /* Initialize all configured peripherals */
  MX_GPIO_Init();
  MX_DMA_Init();
  MX_TIM4_Init();
  MX_USART1_UART_Init();
  MX_USART2_UART_Init();
  MX_I2C3_Init();
  MX_TIM1_Init();
  MX_TIM2_Init();
  MX_TIM3_Init();
  MX_SPI1_Init();
  MX_I2C1_Init();
  /* USER CODE BEGIN 2 */
  Drive_Bind(&htim1, &htim3, &htim2);
  if (Drive_Start() != HAL_OK)
  {
    Error_Handler();
  }
  SpeedPID_Init();
  UARTProtocol_Init(&huart2);
  if (I2CProtocol_Init(&hi2c1) != HAL_OK)
  {
    Error_Handler();
  }
  CalibrationStore_Init();
  UART_SendWheelState();
  (void)UARTProtocol_SendSystem(0U, 0, 0, 0U, 0U, 0U, 0U);
  SerialConsole_PrintHelp();
  SerialConsole_Write("DAMGC boot: initializing BNO055...\r\n");
  (void)BNO055_Init();
  if (UARTProtocol_StartReceive() != HAL_OK)
  {
    Error_Handler();
  }
  imu_last_send_ms = HAL_GetTick();
  wheel_last_send_ms = HAL_GetTick();
  system_last_send_ms = HAL_GetTick();
  bno055_next_retry_ms = HAL_GetTick() + 2000U;
  SerialConsole_Write(bno055_test.state == BNO055_STATE_RUNNING ?
                      "BNO055 ready\r\n> " : "BNO055 not ready; automatic retry enabled\r\n> ");
  /* USER CODE END 2 */

  /* Infinite loop */
  while (1)
  {

    /* USER CODE BEGIN 3 */
    uint32_t now_ms = HAL_GetTick();

    JetsonProtocol_Process();
    SerialConsole_Process();
    SerialTest_Process();

    if ((uint32_t)(now_ms - wheel_last_send_ms) >= UART_WHEEL_PERIOD_MS)
    {
      wheel_last_send_ms = now_ms;
      UART_SendWheelState();
    }
    if ((uint32_t)(now_ms - system_last_send_ms) >= UART_SYSTEM_PERIOD_MS)
    {
      system_last_send_ms = now_ms;
      UART_SendSystemState();
    }

    if ((bno055_test.state == BNO055_STATE_RUNNING) &&
        ((uint32_t)(now_ms - imu_last_send_ms) >= UART_IMU_PERIOD_MS))
    {
      imu_last_send_ms = now_ms;
      if (BNO055_Update() != HAL_OK)
      {
        bno055_test.state = BNO055_STATE_INIT_ERROR;
        bno055_next_retry_ms = now_ms + 2000U;
        SerialConsole_Write("IMU read error; retry scheduled\r\n> ");
      }
      else
      {
        (void)UART_SendIMU();
      }
    }
    else if ((bno055_test.state != BNO055_STATE_RUNNING) &&
            (bno055_test.state != BNO055_STATE_NOT_FOUND) &&
            ((int32_t)(now_ms - bno055_next_retry_ms) >= 0) &&
            (SpeedPID_GetStatus()->active == 0U))
    {
      bno055_next_retry_ms = now_ms + 2000U;
      SerialConsole_Write("Retrying BNO055 initialization...\r\n");
      (void)BNO055_Init();
    }
    HAL_Delay(1U);
  }
  /* USER CODE END 3 */
}

void SystemClock_Config(void)
{
  LL_FLASH_SetLatency(LL_FLASH_LATENCY_4);
  while(LL_FLASH_GetLatency() != LL_FLASH_LATENCY_4)
  {
  }
  LL_PWR_EnableRange1BoostMode();
  LL_RCC_HSE_EnableBypass();
  LL_RCC_HSE_Enable();
   /* Wait till HSE is ready */
  while(LL_RCC_HSE_IsReady() != 1)
  {
  }

  LL_RCC_PLL_ConfigDomain_SYS(LL_RCC_PLLSOURCE_HSE, LL_RCC_PLLM_DIV_2, 34, LL_RCC_PLLR_DIV_2);
  LL_RCC_PLL_EnableDomain_SYS();
  LL_RCC_PLL_Enable();
   /* Wait till PLL is ready */
  while(LL_RCC_PLL_IsReady() != 1)
  {
  }

  LL_RCC_SetSysClkSource(LL_RCC_SYS_CLKSOURCE_PLL);
  LL_RCC_SetAHBPrescaler(LL_RCC_SYSCLK_DIV_2);
   /* Wait till System clock is ready */
  while(LL_RCC_GetSysClkSource() != LL_RCC_SYS_CLKSOURCE_STATUS_PLL)
  {
  }

  /* Insure 1us transition state at intermediate medium speed clock*/
  for (__IO uint32_t i = (170 >> 1); i !=0; i--);

  /* Set AHB prescaler*/
  LL_RCC_SetAHBPrescaler(LL_RCC_SYSCLK_DIV_1);
  LL_RCC_SetAPB1Prescaler(LL_RCC_APB1_DIV_1);
  LL_RCC_SetAPB2Prescaler(LL_RCC_APB2_DIV_1);
  LL_SetSystemCoreClock(170000000);

   /* Update the time base */
  if (HAL_InitTick (TICK_INT_PRIORITY) != HAL_OK)
  {
    Error_Handler();
  }
}

static void MX_I2C1_Init(void)
{

  hi2c1.Instance = I2C1;
  hi2c1.Init.Timing = 0x40B285C2;
  hi2c1.Init.OwnAddress1 = (I2C_PROTOCOL_ADDRESS_7BIT << 1U);
  hi2c1.Init.AddressingMode = I2C_ADDRESSINGMODE_7BIT;
  hi2c1.Init.DualAddressMode = I2C_DUALADDRESS_DISABLE;
  hi2c1.Init.OwnAddress2 = 0;
  hi2c1.Init.OwnAddress2Masks = I2C_OA2_NOMASK;
  hi2c1.Init.GeneralCallMode = I2C_GENERALCALL_DISABLE;
  hi2c1.Init.NoStretchMode = I2C_NOSTRETCH_DISABLE;
  if (HAL_I2C_Init(&hi2c1) != HAL_OK)
  {
    Error_Handler();
  }

  /** Configure Analogue filter
  */
  if (HAL_I2CEx_ConfigAnalogFilter(&hi2c1, I2C_ANALOGFILTER_ENABLE) != HAL_OK)
  {
    Error_Handler();
  }

  /** Configure Digital filter
  */
  if (HAL_I2CEx_ConfigDigitalFilter(&hi2c1, 0) != HAL_OK)
  {
    Error_Handler();
  }

}

static void MX_I2C3_Init(void)
{

  hi2c3.Instance = I2C3;
  hi2c3.Init.Timing = 0x40B285C2;
  hi2c3.Init.OwnAddress1 = 0;
  hi2c3.Init.AddressingMode = I2C_ADDRESSINGMODE_7BIT;
  hi2c3.Init.DualAddressMode = I2C_DUALADDRESS_DISABLE;
  hi2c3.Init.OwnAddress2 = 0;
  hi2c3.Init.OwnAddress2Masks = I2C_OA2_NOMASK;
  hi2c3.Init.GeneralCallMode = I2C_GENERALCALL_DISABLE;
  hi2c3.Init.NoStretchMode = I2C_NOSTRETCH_DISABLE;
  if (HAL_I2C_Init(&hi2c3) != HAL_OK)
  {
    Error_Handler();
  }

  /** Configure Analogue filter
  */
  if (HAL_I2CEx_ConfigAnalogFilter(&hi2c3, I2C_ANALOGFILTER_ENABLE) != HAL_OK)
  {
    Error_Handler();
  }

  /** Configure Digital filter
  */
  if (HAL_I2CEx_ConfigDigitalFilter(&hi2c3, 0) != HAL_OK)
  {
    Error_Handler();
  }

}

static void MX_SPI1_Init(void)
{

  LL_SPI_InitTypeDef SPI_InitStruct = {0};

  LL_GPIO_InitTypeDef GPIO_InitStruct = {0};

  /* Peripheral clock enable */
  LL_APB2_GRP1_EnableClock(LL_APB2_GRP1_PERIPH_SPI1);

  LL_AHB2_GRP1_EnableClock(LL_AHB2_GRP1_PERIPH_GPIOB);
  /**SPI1 GPIO Configuration
  PB3   ------> SPI1_SCK
  PB4   ------> SPI1_MISO
  PB5   ------> SPI1_MOSI
  */
  GPIO_InitStruct.Pin = LL_GPIO_PIN_3;
  GPIO_InitStruct.Mode = LL_GPIO_MODE_ALTERNATE;
  GPIO_InitStruct.Speed = LL_GPIO_SPEED_FREQ_LOW;
  GPIO_InitStruct.OutputType = LL_GPIO_OUTPUT_PUSHPULL;
  GPIO_InitStruct.Pull = LL_GPIO_PULL_NO;
  GPIO_InitStruct.Alternate = LL_GPIO_AF_5;
  LL_GPIO_Init(GPIOB, &GPIO_InitStruct);

  GPIO_InitStruct.Pin = LL_GPIO_PIN_4;
  GPIO_InitStruct.Mode = LL_GPIO_MODE_ALTERNATE;
  GPIO_InitStruct.Speed = LL_GPIO_SPEED_FREQ_LOW;
  GPIO_InitStruct.OutputType = LL_GPIO_OUTPUT_PUSHPULL;
  GPIO_InitStruct.Pull = LL_GPIO_PULL_NO;
  GPIO_InitStruct.Alternate = LL_GPIO_AF_5;
  LL_GPIO_Init(GPIOB, &GPIO_InitStruct);

  GPIO_InitStruct.Pin = LL_GPIO_PIN_5;
  GPIO_InitStruct.Mode = LL_GPIO_MODE_ALTERNATE;
  GPIO_InitStruct.Speed = LL_GPIO_SPEED_FREQ_LOW;
  GPIO_InitStruct.OutputType = LL_GPIO_OUTPUT_PUSHPULL;
  GPIO_InitStruct.Pull = LL_GPIO_PULL_NO;
  GPIO_InitStruct.Alternate = LL_GPIO_AF_5;
  LL_GPIO_Init(GPIOB, &GPIO_InitStruct);

  /* SPI1 parameter configuration*/
  SPI_InitStruct.TransferDirection = LL_SPI_FULL_DUPLEX;
  SPI_InitStruct.Mode = LL_SPI_MODE_MASTER;
  SPI_InitStruct.DataWidth = LL_SPI_DATAWIDTH_8BIT;
  SPI_InitStruct.ClockPolarity = LL_SPI_POLARITY_LOW;
  SPI_InitStruct.ClockPhase = LL_SPI_PHASE_1EDGE;
  SPI_InitStruct.NSS = LL_SPI_NSS_SOFT;
  SPI_InitStruct.BaudRate = LL_SPI_BAUDRATEPRESCALER_DIV32;
  SPI_InitStruct.BitOrder = LL_SPI_MSB_FIRST;
  SPI_InitStruct.CRCCalculation = LL_SPI_CRCCALCULATION_DISABLE;
  SPI_InitStruct.CRCPoly = 7;
  LL_SPI_Init(SPI1, &SPI_InitStruct);
  LL_SPI_SetStandard(SPI1, LL_SPI_PROTOCOL_MOTOROLA);
  LL_SPI_EnableNSSPulseMgt(SPI1);

}

static void MX_TIM1_Init(void)
{

  TIM_MasterConfigTypeDef sMasterConfig = {0};
  TIM_OC_InitTypeDef sConfigOC = {0};
  TIM_BreakDeadTimeConfigTypeDef sBreakDeadTimeConfig = {0};

  htim1.Instance = TIM1;
  htim1.Init.Prescaler = 0;
  htim1.Init.CounterMode = TIM_COUNTERMODE_UP;
  htim1.Init.Period = 8499;
  htim1.Init.ClockDivision = TIM_CLOCKDIVISION_DIV1;
  htim1.Init.RepetitionCounter = 0;
  htim1.Init.AutoReloadPreload = TIM_AUTORELOAD_PRELOAD_DISABLE;
  if (HAL_TIM_PWM_Init(&htim1) != HAL_OK)
  {
    Error_Handler();
  }
  sMasterConfig.MasterOutputTrigger = TIM_TRGO_RESET;
  sMasterConfig.MasterOutputTrigger2 = TIM_TRGO2_RESET;
  sMasterConfig.MasterSlaveMode = TIM_MASTERSLAVEMODE_DISABLE;
  if (HAL_TIMEx_MasterConfigSynchronization(&htim1, &sMasterConfig) != HAL_OK)
  {
    Error_Handler();
  }
  sConfigOC.OCMode = TIM_OCMODE_PWM1;
  sConfigOC.Pulse = 0;
  sConfigOC.OCPolarity = TIM_OCPOLARITY_HIGH;
  sConfigOC.OCNPolarity = TIM_OCNPOLARITY_HIGH;
  sConfigOC.OCFastMode = TIM_OCFAST_DISABLE;
  sConfigOC.OCIdleState = TIM_OCIDLESTATE_RESET;
  sConfigOC.OCNIdleState = TIM_OCNIDLESTATE_RESET;
  if (HAL_TIM_PWM_ConfigChannel(&htim1, &sConfigOC, TIM_CHANNEL_1) != HAL_OK)
  {
    Error_Handler();
  }
  if (HAL_TIM_PWM_ConfigChannel(&htim1, &sConfigOC, TIM_CHANNEL_2) != HAL_OK)
  {
    Error_Handler();
  }
  sBreakDeadTimeConfig.OffStateRunMode = TIM_OSSR_DISABLE;
  sBreakDeadTimeConfig.OffStateIDLEMode = TIM_OSSI_DISABLE;
  sBreakDeadTimeConfig.LockLevel = TIM_LOCKLEVEL_OFF;
  sBreakDeadTimeConfig.DeadTime = 0;
  sBreakDeadTimeConfig.BreakState = TIM_BREAK_DISABLE;
  sBreakDeadTimeConfig.BreakPolarity = TIM_BREAKPOLARITY_HIGH;
  sBreakDeadTimeConfig.BreakFilter = 0;
  sBreakDeadTimeConfig.BreakAFMode = TIM_BREAK_AFMODE_INPUT;
  sBreakDeadTimeConfig.Break2State = TIM_BREAK2_DISABLE;
  sBreakDeadTimeConfig.Break2Polarity = TIM_BREAK2POLARITY_HIGH;
  sBreakDeadTimeConfig.Break2Filter = 0;
  sBreakDeadTimeConfig.Break2AFMode = TIM_BREAK_AFMODE_INPUT;
  sBreakDeadTimeConfig.AutomaticOutput = TIM_AUTOMATICOUTPUT_DISABLE;
  if (HAL_TIMEx_ConfigBreakDeadTime(&htim1, &sBreakDeadTimeConfig) != HAL_OK)
  {
    Error_Handler();
  }
  HAL_TIM_MspPostInit(&htim1);

}

static void MX_TIM2_Init(void)
{

  TIM_Encoder_InitTypeDef sConfig = {0};
  TIM_MasterConfigTypeDef sMasterConfig = {0};

  htim2.Instance = TIM2;
  htim2.Init.Prescaler = 0;
  htim2.Init.CounterMode = TIM_COUNTERMODE_UP;
  htim2.Init.Period = 4294967295;
  htim2.Init.ClockDivision = TIM_CLOCKDIVISION_DIV1;
  htim2.Init.AutoReloadPreload = TIM_AUTORELOAD_PRELOAD_DISABLE;
  sConfig.EncoderMode = TIM_ENCODERMODE_TI12;
  sConfig.IC1Polarity = TIM_ICPOLARITY_RISING;
  sConfig.IC1Selection = TIM_ICSELECTION_DIRECTTI;
  sConfig.IC1Prescaler = TIM_ICPSC_DIV1;
  sConfig.IC1Filter = 4;
  sConfig.IC2Polarity = TIM_ICPOLARITY_RISING;
  sConfig.IC2Selection = TIM_ICSELECTION_DIRECTTI;
  sConfig.IC2Prescaler = TIM_ICPSC_DIV1;
  sConfig.IC2Filter = 4;
  if (HAL_TIM_Encoder_Init(&htim2, &sConfig) != HAL_OK)
  {
    Error_Handler();
  }
  sMasterConfig.MasterOutputTrigger = TIM_TRGO_RESET;
  sMasterConfig.MasterSlaveMode = TIM_MASTERSLAVEMODE_DISABLE;
  if (HAL_TIMEx_MasterConfigSynchronization(&htim2, &sMasterConfig) != HAL_OK)
  {
    Error_Handler();
  }

}

static void MX_TIM3_Init(void)
{

  TIM_Encoder_InitTypeDef sConfig = {0};
  TIM_MasterConfigTypeDef sMasterConfig = {0};

  htim3.Instance = TIM3;
  htim3.Init.Prescaler = 0;
  htim3.Init.CounterMode = TIM_COUNTERMODE_UP;
  htim3.Init.Period = 65535;
  htim3.Init.ClockDivision = TIM_CLOCKDIVISION_DIV1;
  htim3.Init.AutoReloadPreload = TIM_AUTORELOAD_PRELOAD_DISABLE;
  sConfig.EncoderMode = TIM_ENCODERMODE_TI12;
  sConfig.IC1Polarity = TIM_ICPOLARITY_RISING;
  sConfig.IC1Selection = TIM_ICSELECTION_DIRECTTI;
  sConfig.IC1Prescaler = TIM_ICPSC_DIV1;
  sConfig.IC1Filter = 4;
  sConfig.IC2Polarity = TIM_ICPOLARITY_RISING;
  sConfig.IC2Selection = TIM_ICSELECTION_DIRECTTI;
  sConfig.IC2Prescaler = TIM_ICPSC_DIV1;
  sConfig.IC2Filter = 4;
  if (HAL_TIM_Encoder_Init(&htim3, &sConfig) != HAL_OK)
  {
    Error_Handler();
  }
  sMasterConfig.MasterOutputTrigger = TIM_TRGO_RESET;
  sMasterConfig.MasterSlaveMode = TIM_MASTERSLAVEMODE_DISABLE;
  if (HAL_TIMEx_MasterConfigSynchronization(&htim3, &sMasterConfig) != HAL_OK)
  {
    Error_Handler();
  }

}

static void MX_TIM4_Init(void)
{

  LL_TIM_InitTypeDef TIM_InitStruct = {0};

  /* Peripheral clock enable */
  LL_APB1_GRP1_EnableClock(LL_APB1_GRP1_PERIPH_TIM4);

  TIM_InitStruct.Prescaler = 0;
  TIM_InitStruct.CounterMode = LL_TIM_COUNTERMODE_UP;
  TIM_InitStruct.Autoreload = 65535;
  TIM_InitStruct.ClockDivision = LL_TIM_CLOCKDIVISION_DIV1;
  LL_TIM_Init(TIM4, &TIM_InitStruct);
  LL_TIM_DisableARRPreload(TIM4);
  LL_TIM_SetClockSource(TIM4, LL_TIM_CLOCKSOURCE_INTERNAL);
  LL_TIM_SetTriggerOutput(TIM4, LL_TIM_TRGO_RESET);
  LL_TIM_DisableMasterSlaveMode(TIM4);

}

static void MX_USART1_UART_Init(void)
{

  huart1.Instance = USART1;
  huart1.Init.BaudRate = 115200;
  huart1.Init.WordLength = UART_WORDLENGTH_8B;
  huart1.Init.StopBits = UART_STOPBITS_1;
  huart1.Init.Parity = UART_PARITY_NONE;
  huart1.Init.Mode = UART_MODE_TX_RX;
  huart1.Init.HwFlowCtl = UART_HWCONTROL_NONE;
  huart1.Init.OverSampling = UART_OVERSAMPLING_16;
  huart1.Init.OneBitSampling = UART_ONE_BIT_SAMPLE_DISABLE;
  huart1.Init.ClockPrescaler = UART_PRESCALER_DIV1;
  huart1.AdvancedInit.AdvFeatureInit = UART_ADVFEATURE_NO_INIT;
  if (HAL_UART_Init(&huart1) != HAL_OK)
  {
    Error_Handler();
  }
  if (HAL_UARTEx_SetTxFifoThreshold(&huart1, UART_TXFIFO_THRESHOLD_1_8) != HAL_OK)
  {
    Error_Handler();
  }
  if (HAL_UARTEx_SetRxFifoThreshold(&huart1, UART_RXFIFO_THRESHOLD_1_8) != HAL_OK)
  {
    Error_Handler();
  }
  if (HAL_UARTEx_DisableFifoMode(&huart1) != HAL_OK)
  {
    Error_Handler();
  }

}

static void MX_USART2_UART_Init(void)
{

  huart2.Instance = USART2;
  huart2.Init.BaudRate = 230400;
  huart2.Init.WordLength = UART_WORDLENGTH_8B;
  huart2.Init.StopBits = UART_STOPBITS_1;
  huart2.Init.Parity = UART_PARITY_NONE;
  huart2.Init.Mode = UART_MODE_TX_RX;
  huart2.Init.HwFlowCtl = UART_HWCONTROL_NONE;
  huart2.Init.OverSampling = UART_OVERSAMPLING_16;
  huart2.Init.OneBitSampling = UART_ONE_BIT_SAMPLE_DISABLE;
  huart2.Init.ClockPrescaler = UART_PRESCALER_DIV1;
  huart2.AdvancedInit.AdvFeatureInit = UART_ADVFEATURE_NO_INIT;
  if (HAL_UART_Init(&huart2) != HAL_OK)
  {
    Error_Handler();
  }
  if (HAL_UARTEx_SetTxFifoThreshold(&huart2, UART_TXFIFO_THRESHOLD_1_8) != HAL_OK)
  {
    Error_Handler();
  }
  if (HAL_UARTEx_SetRxFifoThreshold(&huart2, UART_RXFIFO_THRESHOLD_1_8) != HAL_OK)
  {
    Error_Handler();
  }
  if (HAL_UARTEx_DisableFifoMode(&huart2) != HAL_OK)
  {
    Error_Handler();
  }

}

static void MX_DMA_Init(void)
{

  /* DMA controller clock enable */
  __HAL_RCC_DMAMUX1_CLK_ENABLE();
  __HAL_RCC_DMA1_CLK_ENABLE();

  /* DMA interrupt init */
  /* DMA1_Channel1_IRQn interrupt configuration */
  HAL_NVIC_SetPriority(DMA1_Channel1_IRQn, 6, 0);
  HAL_NVIC_EnableIRQ(DMA1_Channel1_IRQn);
  /* DMA1_Channel2_IRQn interrupt configuration */
  HAL_NVIC_SetPriority(DMA1_Channel2_IRQn, 6, 0);
  HAL_NVIC_EnableIRQ(DMA1_Channel2_IRQn);

}

static void MX_GPIO_Init(void)
{
  LL_GPIO_InitTypeDef GPIO_InitStruct = {0};

  /* GPIO Ports Clock Enable */
  LL_AHB2_GRP1_EnableClock(LL_AHB2_GRP1_PERIPH_GPIOF);
  LL_AHB2_GRP1_EnableClock(LL_AHB2_GRP1_PERIPH_GPIOA);
  LL_AHB2_GRP1_EnableClock(LL_AHB2_GRP1_PERIPH_GPIOB);
  LL_AHB2_GRP1_EnableClock(LL_AHB2_GRP1_PERIPH_GPIOC);
  LL_AHB2_GRP1_EnableClock(LL_AHB2_GRP1_PERIPH_GPIOD);

  /**/
  LL_GPIO_ResetOutputPin(INA1_GPIO_Port, INA1_Pin);

  /**/
  LL_GPIO_ResetOutputPin(INA2_GPIO_Port, INA2_Pin);

  /**/
  LL_GPIO_ResetOutputPin(INB2_GPIO_Port, INB2_Pin);

  /**/
  LL_GPIO_ResetOutputPin(INB1_GPIO_Port, INB1_Pin);

  /**/
  LL_GPIO_ResetOutputPin(SPI1_CS_GPIO_Port, SPI1_CS_Pin);

  /**/
  GPIO_InitStruct.Pin = INA1_Pin;
  GPIO_InitStruct.Mode = LL_GPIO_MODE_OUTPUT;
  GPIO_InitStruct.Speed = LL_GPIO_SPEED_FREQ_LOW;
  GPIO_InitStruct.OutputType = LL_GPIO_OUTPUT_PUSHPULL;
  GPIO_InitStruct.Pull = LL_GPIO_PULL_NO;
  LL_GPIO_Init(INA1_GPIO_Port, &GPIO_InitStruct);

  /**/
  GPIO_InitStruct.Pin = INA2_Pin;
  GPIO_InitStruct.Mode = LL_GPIO_MODE_OUTPUT;
  GPIO_InitStruct.Speed = LL_GPIO_SPEED_FREQ_LOW;
  GPIO_InitStruct.OutputType = LL_GPIO_OUTPUT_PUSHPULL;
  GPIO_InitStruct.Pull = LL_GPIO_PULL_NO;
  LL_GPIO_Init(INA2_GPIO_Port, &GPIO_InitStruct);

  /**/
  GPIO_InitStruct.Pin = INB2_Pin;
  GPIO_InitStruct.Mode = LL_GPIO_MODE_OUTPUT;
  GPIO_InitStruct.Speed = LL_GPIO_SPEED_FREQ_LOW;
  GPIO_InitStruct.OutputType = LL_GPIO_OUTPUT_PUSHPULL;
  GPIO_InitStruct.Pull = LL_GPIO_PULL_NO;
  LL_GPIO_Init(INB2_GPIO_Port, &GPIO_InitStruct);

  /**/
  GPIO_InitStruct.Pin = INB1_Pin;
  GPIO_InitStruct.Mode = LL_GPIO_MODE_OUTPUT;
  GPIO_InitStruct.Speed = LL_GPIO_SPEED_FREQ_LOW;
  GPIO_InitStruct.OutputType = LL_GPIO_OUTPUT_PUSHPULL;
  GPIO_InitStruct.Pull = LL_GPIO_PULL_NO;
  LL_GPIO_Init(INB1_GPIO_Port, &GPIO_InitStruct);

  /**/
  GPIO_InitStruct.Pin = SPI1_CS_Pin;
  GPIO_InitStruct.Mode = LL_GPIO_MODE_OUTPUT;
  GPIO_InitStruct.Speed = LL_GPIO_SPEED_FREQ_LOW;
  GPIO_InitStruct.OutputType = LL_GPIO_OUTPUT_PUSHPULL;
  GPIO_InitStruct.Pull = LL_GPIO_PULL_NO;
  LL_GPIO_Init(SPI1_CS_GPIO_Port, &GPIO_InitStruct);

}

void Error_Handler(void)
{
  __disable_irq();
  while (1)
  {
  }
}
